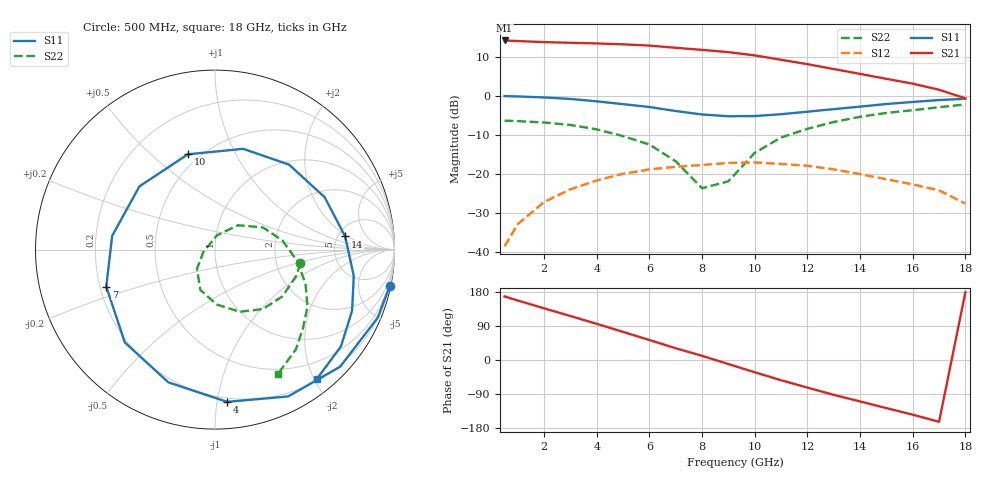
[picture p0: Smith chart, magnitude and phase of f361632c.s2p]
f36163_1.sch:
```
<Qucs Schematic 0.0.18>
<Properties>
  <View=0,-240,859,1472,1,84,180>
  <Grid=10,10,1>
  <DataSet=f36163_1.dat>
  <DataDisplay=f36163_1.dpl>
  <OpenDisplay=1>
  <Script=f36163_1.m>
  <RunScript=0>
  <showFrame=0>
  <FrameText0=Title>
  <FrameText1=Drawn By:>
  <FrameText2=Date:>
  <FrameText3=Revision:>
</Properties>
<Symbol>
</Symbol>
<Components>
  <Pac P1 1 140 290 18 -26 0 1 "1" 1 "50 Ohm" 1 "0 dBm" 0 "1 GHz" 0 "26.85" 0>
  <Pac P2 1 660 290 18 -26 0 1 "2" 1 "50 Ohm" 1 "0 dBm" 0 "1 GHz" 0 "26.85" 0>
  <SPfile X1 1 390 260 -26 -53 0 0 "f361632c.s2p" 1 "rectangular" 0 "linear" 0 "open" 0 "2" 0>
  <GND * 1 660 320 0 0 0 0>
  <GND * 1 140 320 0 0 0 0>
  <Eqn Eqn1 1 400 500 -24 15 0 0 "S11dB=dB(S[1,1])" 1 "S21dB=dB(S[2,1])" 1 "S22dB=dB(S[2,2])" 1 "FdB=w2dbm(F)-30" 1 "K=StabFactor(S)" 1 "yes" 0>
  <.SP SP2 0 80 680 0 63 0 0 "const" 1 "0.03 GHz" 0 "12 GHz" 0 "[11GHz]" 1 "yes" 0 "1" 0 "2" 0 "no" 0 "no" 0>
  <Eqn Eqn2 0 390 690 -28 15 0 0 "GA=GaCircle(S,linspace(1,15,15))" 1 "GP=GpCircle(S,linspace(1,15,15))" 1 "SL=StabCircleL(S)" 1 "SG=StabCircleS(S)" 1 "NF=NoiseCircle(Sopt,Fmin,Rn,[Fmin,1.27, 1.28, 1.3,1.4,1.5])" 1 "yes" 0>
  <TLIN Line1 1 450 260 -26 20 0 0 "50 Ohm" 1 "1 mm" 1 "0 dB" 0 "26.85" 0>
  <TLIN Line2 1 330 260 -26 20 0 0 "50 Ohm" 1 "1 mm" 1 "0 dB" 0 "26.85" 0>
  <SUBST RO4350_1 1 640 540 -30 24 0 0 "3.48" 1 "0.254 mm" 1 "35 um" 1 "0.004" 1 "0.022e-6" 1 "1.4e-6" 1>
  <MVIA MS1 1 480 410 20 0 0 0 "RO4350_1" 1 "0.254 mm" 1 "26.85" 0>
  <TLIN Line3 1 460 380 20 -26 0 1 "56 Ohm" 0 "1.2 mm" 0 "0 dB" 0 "26.85" 0>
  <MVIA MS2 1 430 410 20 0 0 0 "RO4350_1" 1 "0.254 mm" 1 "26.85" 0>
  <TLIN Line4 1 410 380 20 -26 0 1 "56 Ohm" 0 "1.2 mm" 0 "0 dB" 0 "26.85" 0>
  <MVIA MS3 1 390 410 20 0 0 0 "RO4350_1" 1 "0.254 mm" 1 "26.85" 0>
  <TLIN Line5 1 370 380 20 -26 0 1 "56 Ohm" 0 "1.2 mm" 0 "0 dB" 0 "26.85" 0>
  <MVIA MS4 1 350 410 20 0 0 0 "RO4350_1" 1 "0.254 mm" 1 "26.85" 0>
  <TLIN Line6 1 330 380 20 -26 0 1 "56 Ohm" 0 "1.2 mm" 0 "0 dB" 0 "26.85" 0>
  <.SP SP1 1 90 470 0 63 0 0 "lin" 1 "0.01 GHz" 1 "18 GHz" 1 "200" 1 "yes" 0 "1" 0 "2" 0 "no" 0 "no" 0>
</Components>
<Wires>
  <140 260 300 260 "" 0 0 0 "">
  <480 260 660 260 "" 0 0 0 "">
  <390 290 390 350 "" 0 0 0 "">
  <370 350 390 350 "" 0 0 0 "">
  <330 350 370 350 "" 0 0 0 "">
  <410 350 460 350 "" 0 0 0 "">
  <390 350 410 350 "" 0 0 0 "">
</Wires>
<Diagrams>
</Diagrams>
<Paintings>
  <Text 410 840 12 #ff0000 0 "Deactivate, if simulation other than\nSP2 is used">
  <Text 200 148 14 #000000 0 "S-Parameters of Stage-2 FET">
</Paintings>
```
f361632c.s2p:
!ATF-36163
!2V 20mA
! last updated 11-10-95
# ghz s ma r 50
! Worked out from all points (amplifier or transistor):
!   19 points, 500 MHz to 18 GHz, reference 50 ohm
!   highest |S21| = 14.2 dB at 500 MHz (marker M1)
!   |S21| within 3 dB of that: start of sweep to 9.017 GHz
!   unconditionally stable (mu >= 1): 10.22 GHz to end of sweep
!   at 3 GHz: K = 0.36, MSG = 18.7 dB, |S12| = -23.9 dB
!   at 9 GHz: K = 0.93, MSG = 14.2 dB, |S12| = -17.1 dB
!   at 18 GHz: K = 1.42, MAG = 9.6 dB, |S12| = -27.5 dB
!   lowest NFmin = 0.52 dB at 2 GHz
!   S11 on the Smith chart (normalised r, x): 500 MHz: 0.29, -9.72; 4 GHz: 0.17, -1.07; 7 GHz: 0.23, -0.16; 10 GHz: 0.43, +0.66; 14 GHz: 5.80, +1.81; 18 GHz: 0.22, -2.03
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0.5  0.994 -11.7  5.108 167.7  0.012 79.2  0.482 -9.1
2  0.955 -43.1  4.867 136.3  0.044 56.0  0.457 -34.8
4  0.851 -85.4  4.68 95.4  0.083 24.4  0.373 -68.2
5  0.784 -109.3  4.557 74.1  0.101 7.2  0.306 -88.3
7  0.64 -161.2  4.116 31.0  0.124 -26.9  0.146 -133.3
9  0.549 140.1  3.622 -10.8  0.139 -54.6  0.081 81.8
10  0.552 105.9  3.29 -32.3  0.141 -69.7  0.187 46.5
12  0.628 48.9  2.544 -72.9  0.128 -96.7  0.379 7.7
14  0.729 5.7  1.909 -109.3  0.1 -117.8  0.54 -20.9
16  0.836 -23.9  1.433 -144.3  0.074 -132.0  0.656 -41.6
18  0.918 -51.9  0.93 178.8  0.042 -146.8  0.778 -63.4
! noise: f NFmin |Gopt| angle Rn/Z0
2  0.52  0.826  28.08  0.393
3  0.57  0.746  41.9  0.323
5  0.66  0.591  72.65  0.2
7  0.76  0.46  105.7  0.115
9  0.88  0.299  140.4  0.077
10  0.94  0.199  174.5  0.079
12  1.09  0.201  -79.72  0.149
14  1.28  0.38  -12.57  0.356
16  1.52  0.613  20.98  0.658
18  1.85  0.758  52.86  1.215
